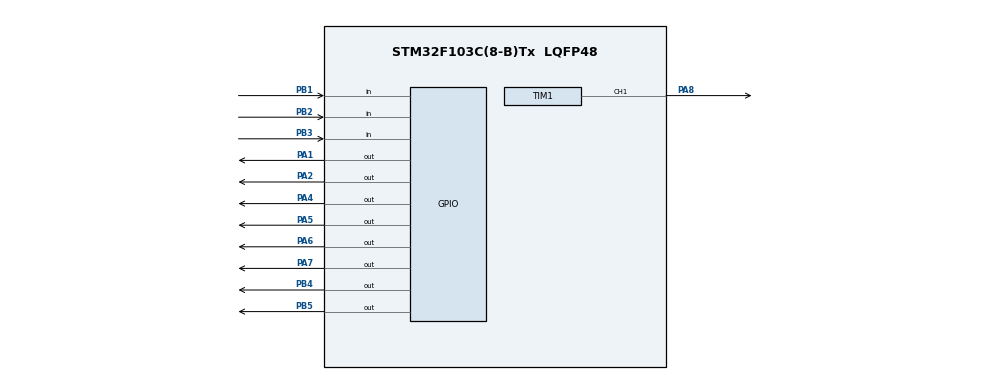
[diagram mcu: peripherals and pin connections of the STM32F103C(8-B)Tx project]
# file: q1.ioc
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Mcu.Family=STM32F1
Mcu.Name=STM32F103C(8-B)Tx
Mcu.Package=LQFP48
NVIC.PriorityGroup=NVIC_PRIORITYGROUP_4
PA1.Signal=GPIO_Output
PA2.Signal=GPIO_Output
PA4.Signal=GPIO_Output
PA5.Signal=GPIO_Output
PA6.Signal=GPIO_Output
PA7.Signal=GPIO_Output
PA8.Signal=S_TIM1_CH1
PB1.GPIO_PuPd=GPIO_PULLUP
PB1.Signal=GPIO_Input
PB2.GPIO_PuPd=GPIO_PULLUP
PB2.Signal=GPIO_Input
PB3.GPIO_PuPd=GPIO_PULLUP
PB3.Signal=GPIO_Input
PB4.Signal=GPIO_Output
PB5.Signal=GPIO_Output
ProjectManager.HeapSize=0x200
ProjectManager.StackSize=0x400
ProjectManager.TargetToolchain=STM32CubeIDE
RCC.APB1Freq_Value=8000000
RCC.APB2Freq_Value=8000000
SH.S_TIM1_CH1.0=TIM1_CH1,PWM Generation1 CH1
TIM1.Channel-PWM\ Generation1\ CH1=TIM_CHANNEL_1
TIM1.Period=79
TIM1.Prescaler=99
VP_SYS_VS_ND.Mode=No_Debug
board=custom

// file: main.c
/* USER CODE BEGIN Header */
/**
  ******************************************************************************
  * @file           : main.c
  * @brief          : Main program body
  ******************************************************************************
  */
/* USER CODE END Header */
#include "main.h"

/* USER CODE BEGIN Includes */
#include <stdio.h>
#include "lcd.h"
/* USER CODE END Includes */

TIM_HandleTypeDef htim1;

/* USER CODE BEGIN PV */
Lcd_HandleTypeDef lcd;

int duty_cycle = 0;       // Ranges from 0 to 100%
int direction = 0;        // 0 for CW, 1 for CCW
uint8_t update_lcd = 1;   // Flag to update LCD only when values change
char lcd_buffer[16];      // Buffer for text formatting
/* USER CODE END PV */

void SystemClock_Config(void);
static void MX_GPIO_Init(void);
static void MX_TIM1_Init(void);

int main(void)
{
  /* MCU Configuration--------------------------------------------------------*/

  /* Reset of all peripherals, Initializes the Flash interface and the Systick. */
  HAL_Init();

  /* Configure the system clock */
  SystemClock_Config();

  /* Initialize all configured peripherals */
  MX_GPIO_Init();
  MX_TIM1_Init();

  /* USER CODE BEGIN 2 */

  // 1. Configure LCD Pins (D4=PA4, D5=PA5, D6=PA6, D7=PA7)
  Lcd_PortType ports[] = {GPIOA, GPIOA, GPIOA, GPIOA};
  Lcd_PinType pins[] = {GPIO_PIN_4, GPIO_PIN_5, GPIO_PIN_6, GPIO_PIN_7};

  // 2. Initialize LCD (RS=PA1, EN=PA2, 4-bit mode)
  lcd = Lcd_create(ports, pins, GPIOA, GPIO_PIN_1, GPIOA, GPIO_PIN_2, LCD_4_BIT_MODE);
  Lcd_clear(&lcd);

  // 3. Start PWM on Timer 1 Channel 1 (PA8)
  HAL_TIM_PWM_Start(&htim1, TIM_CHANNEL_1);
  __HAL_TIM_SET_COMPARE(&htim1, TIM_CHANNEL_1, 0); // Start at 0% speed

  // 4. Set Initial Motor Direction to STOP
  HAL_GPIO_WritePin(GPIOB, GPIO_PIN_4, GPIO_PIN_RESET);
  HAL_GPIO_WritePin(GPIOB, GPIO_PIN_5, GPIO_PIN_RESET);

  // Initial LCD text
  sprintf(lcd_buffer, "Duty: %3d%%      ", duty_cycle);
  Lcd_cursor(&lcd, 0, 0);
  Lcd_string(&lcd, lcd_buffer);
  Lcd_cursor(&lcd, 1, 0);
  Lcd_string(&lcd, "Dir: STOP       ");

  /* USER CODE END 2 */

  /* Infinite loop */
  while (1)
  {

    /* USER CODE BEGIN 3 */

    // --- 1. SPEED UP BUTTON (PB1) ---
    if (HAL_GPIO_ReadPin(GPIOB, GPIO_PIN_1) == GPIO_PIN_RESET)
    {
      HAL_Delay(50); // Small debounce
      if (duty_cycle < 100) {
        duty_cycle += 10;
        update_lcd = 1;
      }
      while(HAL_GPIO_ReadPin(GPIOB, GPIO_PIN_1) == GPIO_PIN_RESET); // Wait for release
      HAL_Delay(50);
    }

    // --- 2. SPEED DOWN BUTTON (PB2) ---
    if (HAL_GPIO_ReadPin(GPIOB, GPIO_PIN_2) == GPIO_PIN_RESET)
    {
      HAL_Delay(50);
      if (duty_cycle > 0) {
        duty_cycle -= 10;
        update_lcd = 1;
      }
      while(HAL_GPIO_ReadPin(GPIOB, GPIO_PIN_2) == GPIO_PIN_RESET);
      HAL_Delay(50);
    }

    // --- 3. DIRECTION TOGGLE BUTTON (PB3) ---
    if (HAL_GPIO_ReadPin(GPIOB, GPIO_PIN_3) == GPIO_PIN_RESET)
    {
      HAL_Delay(50);
      direction = !direction; // Toggle between CW(0) and CCW(1)
      update_lcd = 1;
      while(HAL_GPIO_ReadPin(GPIOB, GPIO_PIN_3) == GPIO_PIN_RESET);
      HAL_Delay(50);
    }

    // --- 4. HARDWARE & LCD UPDATES ---
    if (update_lcd == 1)
    {
      // Map 0-100% to 0-79 pulse width
      uint32_t pulse_width = (duty_cycle * 79) / 100;
      __HAL_TIM_SET_COMPARE(&htim1, TIM_CHANNEL_1, pulse_width);

      if (duty_cycle == 0)
      {
        HAL_GPIO_WritePin(GPIOB, GPIO_PIN_4, GPIO_PIN_RESET);
        HAL_GPIO_WritePin(GPIOB, GPIO_PIN_5, GPIO_PIN_RESET);
        sprintf(lcd_buffer, "Dir: STOP       ");
      }
      else if (direction == 0)
      {
        // Clockwise
        HAL_GPIO_WritePin(GPIOB, GPIO_PIN_4, GPIO_PIN_SET);
        HAL_GPIO_WritePin(GPIOB, GPIO_PIN_5, GPIO_PIN_RESET);
        sprintf(lcd_buffer, "Dir: CW         ");
      }
      else
      {
        // Counter-Clockwise
        HAL_GPIO_WritePin(GPIOB, GPIO_PIN_4, GPIO_PIN_RESET);
        HAL_GPIO_WritePin(GPIOB, GPIO_PIN_5, GPIO_PIN_SET);
        sprintf(lcd_buffer, "Dir: CCW        ");
      }

      Lcd_cursor(&lcd, 1, 0);
      Lcd_string(&lcd, lcd_buffer);

      sprintf(lcd_buffer, "Duty: %3d%%      ", duty_cycle);
      Lcd_cursor(&lcd, 0, 0);
      Lcd_string(&lcd, lcd_buffer);

      update_lcd = 0;
    }
  }
  /* USER CODE END 3 */
}

void SystemClock_Config(void)
{
  RCC_OscInitTypeDef RCC_OscInitStruct = {0};
  RCC_ClkInitTypeDef RCC_ClkInitStruct = {0};

  RCC_OscInitStruct.OscillatorType = RCC_OSCILLATORTYPE_HSI;
  RCC_OscInitStruct.HSIState = RCC_HSI_ON;
  RCC_OscInitStruct.HSICalibrationValue = RCC_HSICALIBRATION_DEFAULT;
  RCC_OscInitStruct.PLL.PLLState = RCC_PLL_NONE;
  if (HAL_RCC_OscConfig(&RCC_OscInitStruct) != HAL_OK)
  {
    Error_Handler();
  }

  RCC_ClkInitStruct.ClockType = RCC_CLOCKTYPE_HCLK|RCC_CLOCKTYPE_SYSCLK
                              |RCC_CLOCKTYPE_PCLK1|RCC_CLOCKTYPE_PCLK2;
  RCC_ClkInitStruct.SYSCLKSource = RCC_SYSCLKSOURCE_HSI;
  RCC_ClkInitStruct.AHBCLKDivider = RCC_SYSCLK_DIV1;
  RCC_ClkInitStruct.APB1CLKDivider = RCC_HCLK_DIV1;
  RCC_ClkInitStruct.APB2CLKDivider = RCC_HCLK_DIV1;

  if (HAL_RCC_ClockConfig(&RCC_ClkInitStruct, FLASH_LATENCY_0) != HAL_OK)
  {
    Error_Handler();
  }
}

static void MX_TIM1_Init(void)
{
  TIM_MasterConfigTypeDef sMasterConfig = {0};
  TIM_OC_InitTypeDef sConfigOC = {0};
  TIM_BreakDeadTimeConfigTypeDef sBreakDeadTimeConfig = {0};

  htim1.Instance = TIM1;
  htim1.Init.Prescaler = 799; // <--- INCREASED FOR PROTEUS PHYSICS SMOOTHNESS
  htim1.Init.CounterMode = TIM_COUNTERMODE_UP;
  htim1.Init.Period = 79;
  htim1.Init.ClockDivision = TIM_CLOCKDIVISION_DIV1;
  htim1.Init.RepetitionCounter = 0;
  htim1.Init.AutoReloadPreload = TIM_AUTORELOAD_PRELOAD_DISABLE;
  if (HAL_TIM_PWM_Init(&htim1) != HAL_OK)
  {
    Error_Handler();
  }
  sMasterConfig.MasterOutputTrigger = TIM_TRGO_RESET;
  sMasterConfig.MasterSlaveMode = TIM_MASTERSLAVEMODE_DISABLE;
  if (HAL_TIMEx_MasterConfigSynchronization(&htim1, &sMasterConfig) != HAL_OK)
  {
    Error_Handler();
  }
  sConfigOC.OCMode = TIM_OCMODE_PWM1;
  sConfigOC.Pulse = 0;
  sConfigOC.OCPolarity = TIM_OCPOLARITY_HIGH;
  sConfigOC.OCNPolarity = TIM_OCNPOLARITY_HIGH;
  sConfigOC.OCFastMode = TIM_OCFAST_DISABLE;
  sConfigOC.OCIdleState = TIM_OCIDLESTATE_RESET;
  sConfigOC.OCNIdleState = TIM_OCNIDLESTATE_RESET;
  if (HAL_TIM_PWM_ConfigChannel(&htim1, &sConfigOC, TIM_CHANNEL_1) != HAL_OK)
  {
    Error_Handler();
  }
  sBreakDeadTimeConfig.OffStateRunMode = TIM_OSSR_DISABLE;
  sBreakDeadTimeConfig.OffStateIDLEMode = TIM_OSSI_DISABLE;
  sBreakDeadTimeConfig.LockLevel = TIM_LOCKLEVEL_OFF;
  sBreakDeadTimeConfig.DeadTime = 0;
  sBreakDeadTimeConfig.BreakState = TIM_BREAK_DISABLE;
  sBreakDeadTimeConfig.BreakPolarity = TIM_BREAKPOLARITY_HIGH;
  sBreakDeadTimeConfig.AutomaticOutput = TIM_AUTOMATICOUTPUT_DISABLE;
  if (HAL_TIMEx_ConfigBreakDeadTime(&htim1, &sBreakDeadTimeConfig) != HAL_OK)
  {
    Error_Handler();
  }

  HAL_TIM_MspPostInit(&htim1);
}

static void MX_GPIO_Init(void)
{
  GPIO_InitTypeDef GPIO_InitStruct = {0};

  /* GPIO Ports Clock Enable */
  __HAL_RCC_GPIOA_CLK_ENABLE();
  __HAL_RCC_GPIOB_CLK_ENABLE();
  __HAL_RCC_AFIO_CLK_ENABLE();  // <--- ENABLE ALTERNATE FUNCTION CLOCK

  // <--- CRITICAL FIX: FREE PB3 AND PB4 FROM JTAG DEBUGGER --->
  __HAL_AFIO_REMAP_SWJ_NOJTAG();

  /*Configure GPIO pin Output Level */
  HAL_GPIO_WritePin(GPIOA, GPIO_PIN_1|GPIO_PIN_2|GPIO_PIN_4|GPIO_PIN_5|GPIO_PIN_6|GPIO_PIN_7, GPIO_PIN_RESET);
  HAL_GPIO_WritePin(GPIOB, GPIO_PIN_4|GPIO_PIN_5, GPIO_PIN_RESET);

  /*Configure GPIO pins : PA1 PA2 PA4 PA5 PA6 PA7 (LCD) */
  GPIO_InitStruct.Pin = GPIO_PIN_1|GPIO_PIN_2|GPIO_PIN_4|GPIO_PIN_5|GPIO_PIN_6|GPIO_PIN_7;
  GPIO_InitStruct.Mode = GPIO_MODE_OUTPUT_PP;
  GPIO_InitStruct.Pull = GPIO_NOPULL;
  GPIO_InitStruct.Speed = GPIO_SPEED_FREQ_LOW;
  HAL_GPIO_Init(GPIOA, &GPIO_InitStruct);

  /*Configure GPIO pins : PB1 PB2 PB3 (All 3 Buttons) */
  GPIO_InitStruct.Pin = GPIO_PIN_1|GPIO_PIN_2|GPIO_PIN_3;
  GPIO_InitStruct.Mode = GPIO_MODE_INPUT;
  GPIO_InitStruct.Pull = GPIO_PULLUP;
  HAL_GPIO_Init(GPIOB, &GPIO_InitStruct);

  /*Configure GPIO pins : PB4 PB5 (L293D IN1 and IN2) */
  GPIO_InitStruct.Pin = GPIO_PIN_4|GPIO_PIN_5;
  GPIO_InitStruct.Mode = GPIO_MODE_OUTPUT_PP;
  GPIO_InitStruct.Pull = GPIO_NOPULL;
  GPIO_InitStruct.Speed = GPIO_SPEED_FREQ_LOW;
  HAL_GPIO_Init(GPIOB, &GPIO_InitStruct);
}

void Error_Handler(void)
{
  __disable_irq();
  while (1)
  {
  }
}
